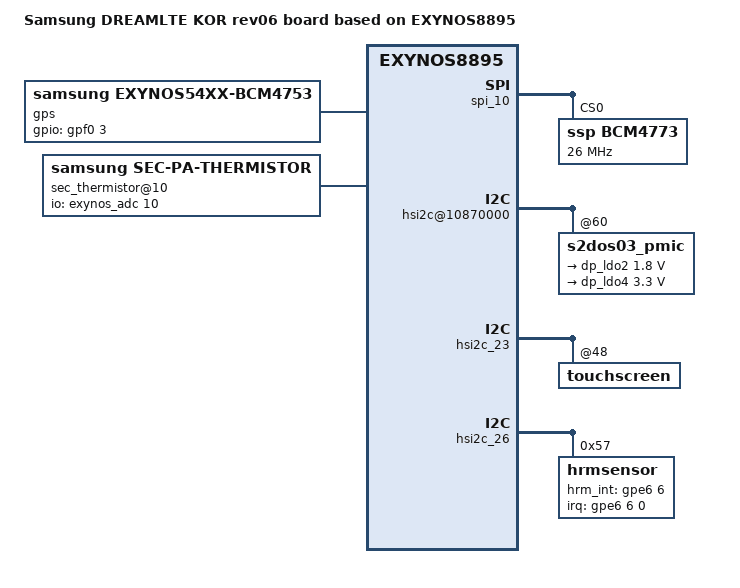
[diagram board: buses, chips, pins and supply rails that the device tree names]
/*
 * SAMSUNG EXYNOS8895 board device tree source
 *
 * Copyright (c) 2016 Samsung Electronics Co., Ltd.
 *		http://www.samsung.com
 *
 * This program is free software; you can redistribute it and/or modify
 * it under the terms of the GNU General Public License version 2 as
 * published by the Free Software Foundation.
*/

/dts-v1/;
#include "exynos8895-dreamlte_common.dtsi"
#include "battery_data_dreamlte_eur_09.dtsi"
#include "exynos8895-dreamlte_motor.dtsi"
#include "exynos8895-dreamlte_svcled.dtsi"
#include "ccic-s2mm005_01.dtsi"
#include "exynos8895-dreamlte_mst_00.dtsi"
#include "exynos8895-dreamlte_gpio_kor_10.dtsi"
#include "exynos8895-dreamlte_kor-tdmb-00.dtsi"
#include "exynos8895-dreamlte_fingerprint-sensor_10.dtsi"

/ {
	model = "Samsung DREAMLTE KOR rev06 board based on EXYNOS8895";
	model_info-chip = <8895>;
	model_info-platform = "android";
	model_info-subtype = "samsung";
	model_info-hw_rev = <10>;
	model_info-hw_rev_end = <10>;
	compatible = "samsung, DREAMLTE KOR rev06", "samsung,EXYNOS8895";

	spi_10: spi@108C0000{
		#address-cells = <1>;
		#size-cells = <0>;
	
		pinctrl-names = "default";
		pinctrl-0 = <&spi1_mosi_sck_ssn &spi1_miso>;

		num-cs = <1>;
		status = "okay";
/*
		dma-mode;
		dmas = <&pdma0 21 0
			&pdma0 20 0>;
*/
		BCM4773@0 {
			compatible = "ssp,BCM4773";
			reg = <0>;
			spi-max-frequency = <26000000>;
			spi-cpol;
			spi-cpha;
			pinctrl-names = "default";
			pinctrl-0 = <&ssp_host_req &ssp_mcu_req &ssp_mcu_resp &ssp_batch_wake_irq &ssp_pwr_en>;
		
			gpio-controller;
			#gpio-cells = <2>;
			ssp-host-req = <&gpa3 4 0x00>;
			ssp-mcu-req = <&gpe6 1 0x00>;
			ssp-mcu-resp = <&gpi1 5 0x00>;
			ssp-batch-wake-irq = <&gpa2 5 0x00>;
			ssp-acc-position = <0>;
			ssp-mag-position = <6>;
			ssp-sns-combination = <0>;
			ssp-ap-rev = <1>;
			ssp-mag-array = /bits/ 8 <20 83 45 32 49 183 0 170 211 55 41 26 208 126 255 209 0 85 45 154 190 253 81 78 9 128 179>;
			ssp-glass-type = <0>;
			ssp-mag-type = <1>;
			ssp-vdd-mcu-1p8 = "vdd_mcu_1p8";
			
			controller-data {
				cs-gpio = <&gpe2 6 0>;
				samsung,spi-feedback-delay = <0>;
			};
		};
	};

	gps {
		compatible = "samsung,exynos54xx-bcm4753";

		pinctrl-names = "hub_en";
		pinctrl-0 = <&ssp_gps_pwr_en>;

		gpios = <&gpf0 3 0x0>;
		status = "okay";
	};

	hsi2c_9: hsi2c@10480000 {
		sx9320-i2c@22 {
			status = "disabled";
		};
	};

	speedy@15B50000{
		status = "okay";
		s2mps17mfd@00 {
			regulators {
                                ldo31_reg: LDO31 {
					regulator-name = "VDD_2P6_MUX";
					regulator-min-microvolt = <2600000>;
					regulator-max-microvolt = <2600000>;
					regulator-always-on;
					regulator-initial-mode = <3>;
				};
				ldo34_reg: LDO34 {
					regulator-name = "tsp_io";
					regulator-min-microvolt = <1850000>;
					regulator-max-microvolt = <1850000>;
					regulator-boot-on;
				};
				ldo35_reg: LDO35 {
					regulator-name = "tsp_avdd";
					regulator-min-microvolt = <3000000>;
					regulator-max-microvolt = <3000000>;
					regulator-boot-on;
				};
				ldo36_reg: LDO36 {
					regulator-name = "VDD_1.8V_ESE";
					regulator-min-microvolt = <1800000>;
					regulator-max-microvolt = <1800000>;
				};
				ldo38_reg: LDO38 {
					regulator-name = "vdd_mcu_1p8";
					regulator-min-microvolt = <1800000>;
					regulator-max-microvolt = <1800000>;
				};
			};
		};
	};

	sec_thermistor@2 {
		status = "disabled";
	};

	sec_thermistor@10 {
		compatible = "samsung,sec-pa-thermistor";
		status = "okay";

		adc_array = <327 347 367 388 410 433 456 482 507 534
			562 591 621 651 684 717 750 786 821 858
			896 935 975 1016 1057 1100 1143 1187 1231 1277
			1323 1369 1416 1463 1511 1559 1608 1657 1706 1755
			1804 1853 1902 1951 2000 2048 2096 2144 2192 2239
			2285 2332 2378 2421 2467 2510 2553 2596 2637 2678
			2719 2758 2797 2833 2872 2906 2942 2976 3011 3042
			3074 3106 3136 3165 3195 3222 3249 3277 3302 3327
			3352 3375 3397 3420 3441 3461 3482 3502 3520 3538
			3557 3573 3591 3607 3620 3636 3650 3666 3680 3691
			3705 3716 3730 3741 3752 3761 3773 3782 3793 3802
			3812>;

		temp_array =
			<(-200) (-190) (-180) (-170) (-160) (-150) (-140) (-130) (-120) (-110)
			(-100) (-90) (-80) (-70) (-60) (-50) (-40) (-30) (-20) (-10)
			0 10 20 30 40 50 60 70 80 90
			100 110 120 130 140 150 160 170 180 190
			200 210 220 230 240 250 260 270 280 290
			300 310 320 330 340 350 360 370 380 390
			400 410 420 430 440 450 460 470 480 490
			500 510 520 530 540 550 560 570 580 590
			600 610 620 630 640 650 660 670 680 690
			700 710 720 730 740 750 760 770 780 790
			800 810 820 830 840 850 860 870 880 890
			900>;

		io-channels = <&exynos_adc 10>;
		io-channel-names = "adc-pa-temp";
		io-channel-ranges;
	};

	pinctrl@164B0000 {
		dp_irq: dp_irq {
			samsung,pins = "gpa3-1";
			samsung,pin-function = <3>;
			samsung,pin-pud = <0>;
		};
	};

	speedy@15B50000{
		status = "okay";
		s2mps17mfd@00 {
			regulators {
				ldo6_reg: LDO6 {
					regulator-name = "vdd_ldo6";
					regulator-min-microvolt = <3100000>;
					regulator-max-microvolt = <3100000>;
					regulator-ramp-delay = <12000>;
				};
				ldo37_reg: LDO37 {
						regulator-name = "VDD_DP_1P8";
						regulator-min-microvolt = <1800000>;
						regulator-max-microvolt = <1800000>;
					};
			};
		};
	};

	displayport: displayport@0x11090000 {
		dp,aux_sw_oe = <&gpi1 3 0>;
		dp,sbu_sw_sel = <&gpe7 5 0>;
		dp,usb_con_sel = <&gpi1 7 0>;
		/*dp,aux_vdd = "VDD_DP_1P8";*/
		dp,hpd_gpio_irq;

		pinctrl-names = "default";
		pinctrl-0 = <&dp_irq>;
	};

	panel_0: panel_drv@001 {
		gpio,lcd-reset = <&gpa0 5 0x1>;
	};

	hsi2c@10870000 {
		status = "okay";
		s2dos03_pmic@60 {
			regulators {
				dp_ldo2: s2dos03-ldo2 {
					regulator-name = "HRM_1.8V_AP";
					regulator-min-microvolt = <1800000>;
					regulator-max-microvolt = <1800000>;
				};
				dp_ldo4: s2dos03-ldo4 {
					regulator-name = "HRM_3.3V_AP";
					regulator-min-microvolt = <3300000>;
					regulator-max-microvolt = <3300000>;
				};
			};
		};
	};

	hsi2c_23: hsi2c@108E0000 {
		touchscreen@48 {	/* lsi */
			status = "okay";
			sec,firmware_name = "tsp_sec/y761_dream1.fw", "tsp_sec/y761_dream1.fw";
		};

		touchscreen@49 {	/* stm */
			status = "disabled";
		};
	};

	hsi2c_26: hsi2c@10910000 {
		status = "okay";
		hrmsensor@57 {
			compatible = "hrmsensor";
			reg = <0x57>;
			interrupt-parent = <&gpe6>;
			interrupts = <6 0 0>;
			pinctrl-names = "default", "sleep", "idle";
			pinctrl-0 = <&hrm_irq>;
			pinctrl-1 = <&hrm_irqsleep>;
			pinctrl-2 = <&hrm_irqidle>;
			hrmsensor,hrm_int-gpio = <&gpe6 6 0>;
			hrmsensor,vdd_1p8 = "HRM_1.8V_AP";
			hrmsensor,led_3p3 = "HRM_3.3V_AP";
			hrmsensor,i2c_1p8 = "VDD_NFC_1P8";
		};
	};
};
